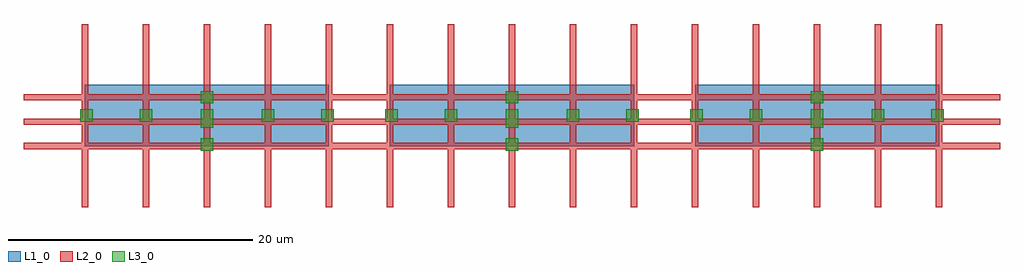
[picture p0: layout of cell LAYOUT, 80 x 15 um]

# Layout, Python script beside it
import gdspy

# Create a new GDSII library and cell
lib = gdspy.GdsLibrary()
cell = lib.new_cell('LAYOUT')

# Define units (default is micrometers in gdspy)
# Layer numbers for different layers
ACTIVE_LAYER = 1
POLY_LAYER = 2
CONTACT_LAYER = 3

# 1. Draw three rectangular active regions (20 µm x 5 µm) with 5 µm spacing between them
active_regions = []
for i in range(3):
    # Calculate the x-coordinate for each active region
    x_start = i * (20 + 5)  # 20 µm width + 5 µm spacing
    x_end = x_start + 20
    # Create the rectangle for the active region
    active = gdspy.Rectangle((x_start, 0), (x_end, 5), layer=ACTIVE_LAYER)
    active_regions.append(active)
    cell.add(active)

# 2. Create a complex polysilicon gate pattern (grid-like structure)
# Vertical polysilicon lines (width 0.5 µm)
vertical_lines = []
for x in range(0, 71, 5):  # From 0 µm to 70 µm with 5 µm intervals
    x_center = x
    x_left = x_center - 0.25  # Half of 0.5 µm width
    x_right = x_center + 0.25
    vertical_line = gdspy.Rectangle((x_left, -5), (x_right, 10), layer=POLY_LAYER)
    vertical_lines.append(vertical_line)
    cell.add(vertical_line)

# Horizontal polysilicon lines (width 0.5 µm)
horizontal_lines = []
for y in [0, 2, 4]:  # At y = 0 µm, 2 µm, and 4 µm
    y_center = y
    y_bottom = y_center - 0.25  # Half of 0.5 µm width
    y_top = y_center + 0.25
    horizontal_line = gdspy.Rectangle((-5, y_bottom), (75, y_top), layer=POLY_LAYER)
    horizontal_lines.append(horizontal_line)
    cell.add(horizontal_line)

# Combine vertical and horizontal lines to form the grid
poly_lines = vertical_lines + horizontal_lines

# 3. Add contact holes (1 µm x 1 µm) at intersections of polysilicon and active regions
contact_size = 1.0  # 1 µm x 1 µm contact hole
contact_half = contact_size / 2

# Function to create contact holes at intersection points
def create_contact_holes(active_region, poly_line):
    # Check for intersection between active region and polysilicon line
    intersection = gdspy.boolean(active_region, poly_line, 'and')
    if intersection:
        # Get the bounding boxes of the intersection areas
        for poly in intersection.polygons:
            xmin, ymin = poly.min(axis=0)
            xmax, ymax = poly.max(axis=0)
            # Calculate the center of the intersection area
            x_center = (xmin + xmax) / 2
            y_center = (ymin + ymax) / 2
            # Define the contact hole rectangle around the center point
            contact_hole = gdspy.Rectangle(
                (x_center - contact_half, y_center - contact_half),
                (x_center + contact_half, y_center + contact_half),
                layer=CONTACT_LAYER
            )
            cell.add(contact_hole)

# Create contact holes at all intersections
for active in active_regions:
    for poly_line in poly_lines:
        create_contact_holes(active, poly_line)

# Save the layout to a GDSII file
lib.write_gds('layout.gds')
